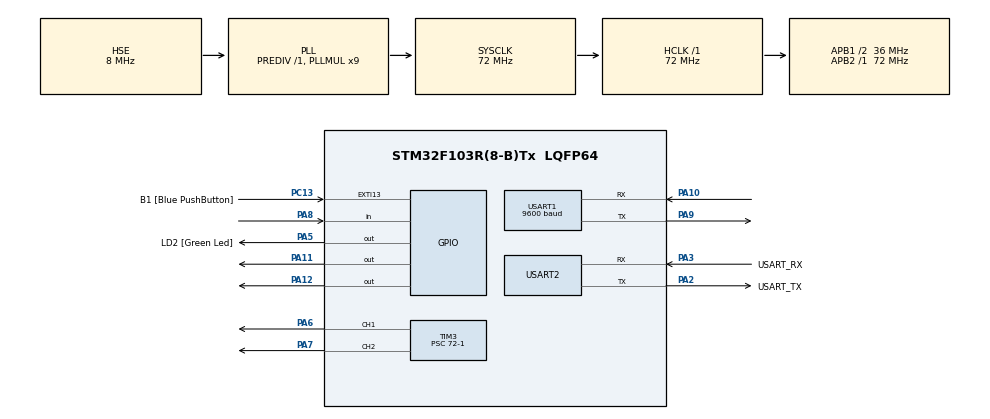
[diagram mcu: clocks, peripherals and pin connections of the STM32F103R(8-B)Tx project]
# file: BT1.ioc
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Mcu.Family=STM32F1
Mcu.Name=STM32F103R(8-B)Tx
Mcu.Package=LQFP64
NVIC.EXTI15_10_IRQn=true\:0\:0\:false\:false\:true\:true\:true\:true
NVIC.PriorityGroup=NVIC_PRIORITYGROUP_4
NVIC.USART1_IRQn=true\:0\:0\:false\:false\:true\:true\:true\:true
PA10.Mode=Asynchronous
PA10.Signal=USART1_RX
PA11.Signal=GPIO_Output
PA12.Signal=GPIO_Output
PA13.GPIO_Label=TMS
PA13.Mode=Serial_Wire
PA13.Signal=SYS_JTMS-SWDIO
PA14.GPIO_Label=TCK
PA14.Mode=Serial_Wire
PA14.Signal=SYS_JTCK-SWCLK
PA2.GPIO_Label=USART_TX
PA2.GPIO_Mode=GPIO_MODE_AF_PP
PA2.GPIO_PuPd=GPIO_NOPULL
PA2.GPIO_Speed=GPIO_SPEED_FREQ_LOW
PA2.Mode=Asynchronous
PA2.Signal=USART2_TX
PA3.GPIO_Label=USART_RX
PA3.GPIO_Mode=GPIO_MODE_AF_PP
PA3.GPIO_PuPd=GPIO_NOPULL
PA3.GPIO_Speed=GPIO_SPEED_FREQ_LOW
PA3.Mode=Asynchronous
PA3.Signal=USART2_RX
PA5.GPIO_Label=LD2 [Green Led]
PA5.GPIO_ModeDefaultOutputPP=GPIO_MODE_OUTPUT_PP
PA5.GPIO_PuPd=GPIO_NOPULL
PA5.GPIO_Speed=GPIO_SPEED_FREQ_LOW
PA5.Signal=GPIO_Output
PA6.Signal=S_TIM3_CH1
PA7.Signal=S_TIM3_CH2
PA8.Signal=GPIO_Input
PA9.Mode=Asynchronous
PA9.Signal=USART1_TX
PB3.GPIO_Label=SWO
PB3.Signal=SYS_JTDO-TRACESWO
PC13-TAMPER-RTC.GPIO_Label=B1 [Blue PushButton]
PC13-TAMPER-RTC.GPIO_PuPd=GPIO_NOPULL
PC13-TAMPER-RTC.Signal=GPXTI13
PC14-OSC32_IN.Mode=LSE-External-Oscillator
PC14-OSC32_IN.Signal=RCC_OSC32_IN
PC15-OSC32_OUT.Mode=LSE-External-Oscillator
PC15-OSC32_OUT.Signal=RCC_OSC32_OUT
PD0-OSC_IN.Mode=HSE-External-Clock-Source
PD0-OSC_IN.Signal=RCC_OSC_IN
PD1-OSC_OUT.Mode=HSE-External-Clock-Source
PD1-OSC_OUT.Signal=RCC_OSC_OUT
ProjectManager.HeapSize=0x200
ProjectManager.StackSize=0x400
ProjectManager.TargetToolchain=STM32CubeIDE
RCC.AHBFreq_Value=72000000
RCC.APB1CLKDivider=RCC_HCLK_DIV2
RCC.APB1Freq_Value=36000000
RCC.APB1TimFreq_Value=72000000
RCC.APB2Freq_Value=72000000
RCC.APB2TimFreq_Value=72000000
RCC.HCLKFreq_Value=72000000
RCC.PLLMUL=RCC_PLL_MUL9
RCC.PLLSourceVirtual=RCC_PLLSOURCE_HSE
RCC.RTCClockSelection=RCC_RTCCLKSOURCE_LSE
RCC.SYSCLKFreq_VALUE=72000000
RCC.SYSCLKSource=RCC_SYSCLKSOURCE_PLLCLK
RCC.USBFreq_Value=72000000
SH.S_TIM3_CH1.0=TIM3_CH1,PWM Generation1 CH1
SH.S_TIM3_CH2.0=TIM3_CH2,PWM Generation2 CH2
TIM3.Channel-PWM\ Generation1\ CH1=TIM_CHANNEL_1
TIM3.Channel-PWM\ Generation2\ CH2=TIM_CHANNEL_2
TIM3.Period=100-1
TIM3.Prescaler=72-1
USART1.BaudRate=9600
USART1.VirtualMode=VM_ASYNC
USART2.VirtualMode=VM_ASYNC
VP_TIM3_VS_ClockSourceINT.Mode=Internal
board=NUCLEO-F103RB

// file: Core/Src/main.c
/* USER CODE BEGIN Header */
/**
  ******************************************************************************
  * @file           : main.c
  * @brief          : Main program body
  ******************************************************************************
  * @attention
  *
  * Copyright (c) 2025 STMicroelectronics.
  * All rights reserved.
  *
  * This software is licensed under terms that can be found in the LICENSE file
  * in the root directory of this software component.
  * If no LICENSE file comes with this software, it is provided AS-IS.
  *
  ******************************************************************************
  */
/* USER CODE END Header */
#include "main.h"
#include "tim.h"
#include "usart.h"
#include "gpio.h"

/* USER CODE BEGIN PV */
// buffer variable
char uart_buf[8];
char re_data[8];
int x_data, y_data;

uint32_t throttle = 1;
uint32_t steering = 1;
/* USER CODE END PV */

void SystemClock_Config(void);

/* USER CODE BEGIN 0 */
// BT ISR
void HAL_UART_RxCpltCallback(UART_HandleTypeDef *huart) {
	if (huart -> Instance == USART1) {
		// arrangement
		for (int i = 0; i < 8; i++) {
			if (uart_buf[(i + 7) % 8] == '.') {
				for (int j = 0; j < 8; j++) {
					re_data[j] = uart_buf[(i + j) % 8];
				}
			}
		}

		// integer conversion
		sscanf(re_data, "%d,%d.", &x_data, &y_data);
		if (y_data == 101) {
			y_data = 100;
		}

		x_data = x_data - 50;
		y_data = y_data - 50;

		//median correction
		if (x_data >= -5 && x_data <= 5) {
			x_data = 0;
		}
		if (x_data >= -5 && x_data <= 5) {
			y_data = 0;
		}

		// 임의 차동 구동 코드
		if (x_data > 0 && y_data >= 0) {
			x_calc = (float)x_data * throttle;
			PWM1_value = (uint32_t)x_calc;
			y_calc = (float)x_data  * throttle * (100 - (float)y_data) / 100 * steering;
			PWM2_value = (uint32_t)y_calc;
			HAL_GPIO_WritePin(GPIOA, GPIO_PIN_11, 0);
			HAL_GPIO_WritePin(GPIOA, GPIO_PIN_12, 0);
			__HAL_TIM_SET_COMPARE(&htim3,TIM_CHANNEL_1, PWM2_value);
			__HAL_TIM_SET_COMPARE(&htim3,TIM_CHANNEL_2, PWM1_value);
		}
		else if (x_data > 0 && y_data < 0) {
			x_calc = (float)x_data * throttle  * (100 + (float)y_data) / 100 * steering;
			PWM1_value = (uint32_t)x_calc;
			y_calc = (float)x_data * throttle;
			PWM2_value = (uint32_t)y_calc;
			HAL_GPIO_WritePin(GPIOA, GPIO_PIN_11, 0);
			HAL_GPIO_WritePin(GPIOA, GPIO_PIN_12, 0);
			__HAL_TIM_SET_COMPARE(&htim3,TIM_CHANNEL_1, PWM2_value);
			__HAL_TIM_SET_COMPARE(&htim3,TIM_CHANNEL_2, PWM1_value);
		}
		else if (x_data < 0 && y_data >= 0) {
			x_calc = fabsf((float)x_data) ;
			PWM1_value = (uint32_t)x_calc * throttle;
			y_calc = fabsf((float)x_data) * throttle * (100 - (float)y_data) / 100 * steering;
			PWM2_value = (uint32_t)y_calc;
			HAL_GPIO_WritePin(GPIOA, GPIO_PIN_11, 1);
			HAL_GPIO_WritePin(GPIOA, GPIO_PIN_12, 1);
			__HAL_TIM_SET_COMPARE(&htim3,TIM_CHANNEL_1, PWM2_value);
			__HAL_TIM_SET_COMPARE(&htim3,TIM_CHANNEL_2, PWM1_value);
		}
		else if (x_data < 0 && y_data < 0) {
			x_calc = fabsf((float)x_data) * throttle * (100 + (float)y_data) / 100 * steering;
			PWM1_value = (uint32_t)x_calc;
			y_calc = fabsf((float)x_data) * throttle;
			PWM2_value = (uint32_t)y_calc;
			HAL_GPIO_WritePin(GPIOA, GPIO_PIN_11, 1);
			HAL_GPIO_WritePin(GPIOA, GPIO_PIN_12, 1);
			__HAL_TIM_SET_COMPARE(&htim3,TIM_CHANNEL_1, PWM2_value);
			__HAL_TIM_SET_COMPARE(&htim3,TIM_CHANNEL_2, PWM1_value);
		}
		else if (x_data = 0) {
			if (y_data > 0) {
				x_calc = (float)y_data;
				PWM1_value = (uint32_t)x_calc;
				y_calc = (float)y_data;
				PWM2_value = (uint32_t)y_calc;
				HAL_GPIO_WritePin(GPIOA, GPIO_PIN_11, 0);
				HAL_GPIO_WritePin(GPIOA, GPIO_PIN_12, 1);
				__HAL_TIM_SET_COMPARE(&htim3,TIM_CHANNEL_1, PWM2_value);
				__HAL_TIM_SET_COMPARE(&htim3,TIM_CHANNEL_2, PWM1_value);
			}
			else if (y_data < 0) {
				x_calc = (float)y_data;
				PWM1_value = (uint32_t)x_calc;
				y_calc = (float)y_data;
				PWM2_value = (uint32_t)y_calc;
				HAL_GPIO_WritePin(GPIOA, GPIO_PIN_11, 1);
				HAL_GPIO_WritePin(GPIOA, GPIO_PIN_12, 0);
				__HAL_TIM_SET_COMPARE(&htim3,TIM_CHANNEL_1, PWM2_value);
				__HAL_TIM_SET_COMPARE(&htim3,TIM_CHANNEL_2, PWM1_value);
			}
			else {
				__HAL_TIM_SET_COMPARE(&htim3,TIM_CHANNEL_1, 0);
				__HAL_TIM_SET_COMPARE(&htim3,TIM_CHANNEL_2, 0);
			}
		}

		HAL_UART_Receive_IT(&huart1, &uart_buf, 8);
	}
}
/* USER CODE END 0 */

int main(void)
{

  /* MCU Configuration--------------------------------------------------------*/

  /* Reset of all peripherals, Initializes the Flash interface and the Systick. */
  HAL_Init();

  /* Configure the system clock */
  SystemClock_Config();

  /* Initialize all configured peripherals */
  MX_GPIO_Init();
  MX_USART2_UART_Init();
  MX_USART1_UART_Init();
  MX_TIM3_Init();
  /* USER CODE BEGIN 2 */
  while (!HAL_GPIO_ReadPin(GPIOA, GPIO_PIN_8));
  HAL_UART_Receive_IT(&huart1, &uart_buf, 8);

  /* USER CODE END 2 */

  /* Infinite loop */
  /* USER CODE BEGIN WHILE */
  while (1)
  {
	  if (!HAL_GPIO_ReadPin(GPIOA, GPIO_PIN_8)) {
		  while (!HAL_GPIO_ReadPin(GPIOA, GPIO_PIN_8));
		  HAL_UART_Receive_IT(&huart1, &uart_buf, 8);
	  }
    /* USER CODE END WHILE */

  }
}

void SystemClock_Config(void)
{
  RCC_OscInitTypeDef RCC_OscInitStruct = {0};
  RCC_ClkInitTypeDef RCC_ClkInitStruct = {0};

  /** Initializes the RCC Oscillators according to the specified parameters
  * in the RCC_OscInitTypeDef structure.
  */
  RCC_OscInitStruct.OscillatorType = RCC_OSCILLATORTYPE_HSE;
  RCC_OscInitStruct.HSEState = RCC_HSE_BYPASS;
  RCC_OscInitStruct.HSEPredivValue = RCC_HSE_PREDIV_DIV1;
  RCC_OscInitStruct.HSIState = RCC_HSI_ON;
  RCC_OscInitStruct.PLL.PLLState = RCC_PLL_ON;
  RCC_OscInitStruct.PLL.PLLSource = RCC_PLLSOURCE_HSE;
  RCC_OscInitStruct.PLL.PLLMUL = RCC_PLL_MUL9;
  if (HAL_RCC_OscConfig(&RCC_OscInitStruct) != HAL_OK)
  {
    Error_Handler();
  }

  /** Initializes the CPU, AHB and APB buses clocks
  */
  RCC_ClkInitStruct.ClockType = RCC_CLOCKTYPE_HCLK|RCC_CLOCKTYPE_SYSCLK
                              |RCC_CLOCKTYPE_PCLK1|RCC_CLOCKTYPE_PCLK2;
  RCC_ClkInitStruct.SYSCLKSource = RCC_SYSCLKSOURCE_PLLCLK;
  RCC_ClkInitStruct.AHBCLKDivider = RCC_SYSCLK_DIV1;
  RCC_ClkInitStruct.APB1CLKDivider = RCC_HCLK_DIV2;
  RCC_ClkInitStruct.APB2CLKDivider = RCC_HCLK_DIV1;

  if (HAL_RCC_ClockConfig(&RCC_ClkInitStruct, FLASH_LATENCY_2) != HAL_OK)
  {
    Error_Handler();
  }
}

void Error_Handler(void)
{
  __disable_irq();
  while (1)
  {
  }
}
